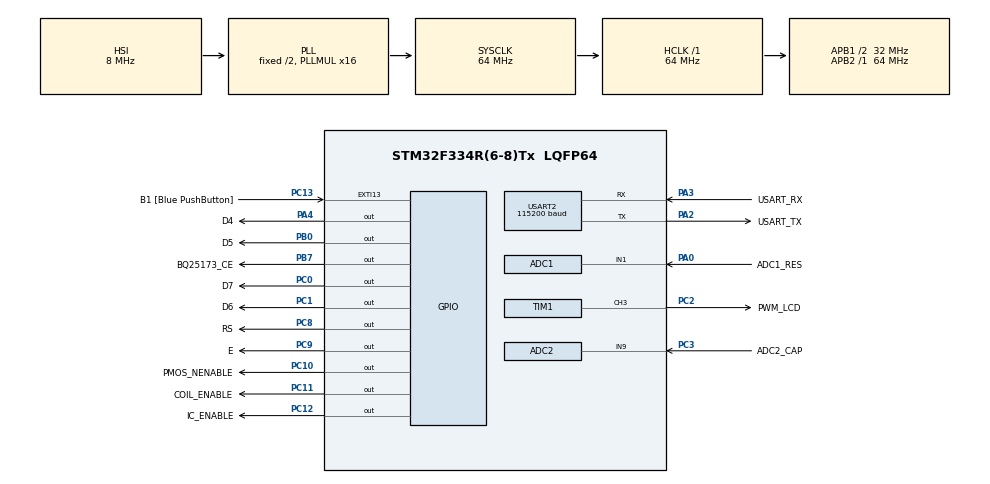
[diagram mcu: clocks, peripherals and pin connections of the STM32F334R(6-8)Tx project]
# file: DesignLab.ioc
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ADC1.Channel-2\#ChannelRegularConversion=ADC_CHANNEL_1
ADC1.ContinuousConvMode=DISABLE
ADC1.ExternalTrigConv=ADC_EXTERNALTRIGCONV_T6_TRGO
ADC1.NbrOfConversion=1
ADC1.NbrOfConversionFlag=1
ADC1.Offset-2\#ChannelRegularConversion=0
ADC1.OffsetNumber-2\#ChannelRegularConversion=ADC_OFFSET_NONE
ADC1.Rank-2\#ChannelRegularConversion=1
ADC1.SamplingTime-2\#ChannelRegularConversion=ADC_SAMPLETIME_1CYCLE_5
ADC1.SubFamily=STM32F334x8
ADC1.master=1
ADC2.Channel-2\#ChannelRegularConversion=ADC_CHANNEL_9
ADC2.ContinuousConvMode=DISABLE
ADC2.ExternalTrigConv=ADC_EXTERNALTRIGCONV_T2_TRGO
ADC2.NbrOfConversionFlag=1
ADC2.Offset-2\#ChannelRegularConversion=0
ADC2.OffsetNumber-2\#ChannelRegularConversion=ADC_OFFSET_NONE
ADC2.Rank-2\#ChannelRegularConversion=1
ADC2.SamplingTime-2\#ChannelRegularConversion=ADC_SAMPLETIME_181CYCLES_5
ADC2.SamplingTimeOPAMP-2\#ChannelRegularConversion=ADC_SAMPLETIME_61CYCLES_5
ADC2.SubFamily=STM32F334x8
Mcu.Family=STM32F3
Mcu.Name=STM32F334R(6-8)Tx
Mcu.Package=LQFP64
NVIC.ADC1_2_IRQn=true\:0\:0\:false\:false\:true\:true\:true\:true
NVIC.PriorityGroup=NVIC_PRIORITYGROUP_0
NVIC.TIM1_BRK_TIM15_IRQn=true\:0\:0\:false\:false\:true\:true\:true\:true
NVIC.TIM7_DAC2_IRQn=true\:0\:0\:false\:false\:true\:true\:true\:true
NVIC.USART2_IRQn=true\:0\:0\:false\:false\:true\:true\:true\:true
PA0.GPIO_Label=ADC1_RES
PA0.Mode=IN1-Single-Ended
PA0.Signal=ADC1_IN1
PA13.GPIO_Label=TMS
PA13.Mode=Serial_Wire
PA13.Signal=SYS_JTMS-SWDIO
PA14.GPIO_Label=TCK
PA14.Mode=Serial_Wire
PA14.Signal=SYS_JTCK-SWCLK
PA2.GPIO_Label=USART_TX
PA2.Mode=Asynchronous
PA2.Signal=USART2_TX
PA3.GPIO_Label=USART_RX
PA3.Mode=Asynchronous
PA3.Signal=USART2_RX
PA4.GPIO_Label=D4
PA4.Signal=GPIO_Output
PB0.GPIO_Label=D5
PB0.Signal=GPIO_Output
PB3.GPIO_Label=SWO
PB3.Signal=SYS_JTDO-TRACESWO
PB7.GPIO_Label=BQ25173_CE
PB7.PinState=GPIO_PIN_SET
PB7.Signal=GPIO_Output
PC0.GPIO_Label=D7
PC0.Signal=GPIO_Output
PC1.GPIO_Label=D6
PC1.Signal=GPIO_Output
PC10.GPIO_Label=PMOS_NENABLE
PC10.PinState=GPIO_PIN_SET
PC10.Signal=GPIO_Output
PC11.GPIO_Label=COIL_ENABLE
PC11.Signal=GPIO_Output
PC12.GPIO_Label=IC_ENABLE
PC12.Signal=GPIO_Output
PC13.GPIO_Label=B1 [Blue PushButton]
PC13.GPIO_ModeDefaultEXTI=GPIO_MODE_IT_FALLING
PC13.Signal=GPXTI13
PC14\ /\ OSC32_IN.Mode=LSE-External-Oscillator
PC14\ /\ OSC32_IN.Signal=RCC_OSC32_IN
PC15\ /\ OSC32_OUT.GPIO_Label=RCC_OSC32_OUT
PC15\ /\ OSC32_OUT.Mode=LSE-External-Oscillator
PC15\ /\ OSC32_OUT.Signal=RCC_OSC32_OUT
PC2.GPIO_Label=PWM_LCD
PC2.Signal=S_TIM1_CH3
PC3.GPIO_Label=ADC2_CAP
PC3.Signal=ADCx_IN9
PC8.GPIO_Label=RS
PC8.Signal=GPIO_Output
PC9.GPIO_Label=E
PC9.Signal=GPIO_Output
PF0\ /\ OSC_IN.Mode=HSE-External-Clock-Source
PF0\ /\ OSC_IN.Signal=RCC_OSC_IN
PF1\ /\ OSC_OUT.Signal=RCC_OSC_OUT
ProjectManager.HeapSize=0x200
ProjectManager.StackSize=0x400
ProjectManager.TargetToolchain=STM32CubeIDE
RCC.AHBFreq_Value=64000000
RCC.APB1CLKDivider=RCC_HCLK_DIV2
RCC.APB1Freq_Value=32000000
RCC.APB1TimFreq_Value=64000000
RCC.APB2Freq_Value=64000000
RCC.APB2TimFreq_Value=64000000
RCC.CortexFreq_Value=64000000
RCC.FLatency-AdvancedSettings=FLASH_LATENCY_2
RCC.HCLKFreq_Value=64000000
RCC.HSE_VALUE=8000000
RCC.HSI_VALUE=8000000
RCC.PLLMUL=RCC_PLL_MUL16
RCC.SYSCLKFreq_VALUE=64000000
RCC.SYSCLKSourceVirtual=RCC_SYSCLKSOURCE_PLLCLK
SH.ADCx_IN9.0=ADC2_IN9,IN9-Single-Ended
SH.S_TIM1_CH3.0=TIM1_CH3,PWM Generation3 CH3
TIM1.Channel-PWM\ Generation3\ CH3=TIM_CHANNEL_3
TIM1.Period=999
TIM1.Prescaler=7
TIM15.Period=999
TIM15.Prescaler=63999
TIM2.Period=99
TIM2.Prescaler=79
TIM2.TIM_MasterOutputTrigger=TIM_TRGO_UPDATE
TIM6.Period=20480
TIM6.Prescaler=0
TIM6.TIM_MasterOutputTrigger=TIM_TRGO_UPDATE
TIM7.Period=999
TIM7.Prescaler=63
USART2.BaudRate=115200
USART2.VirtualMode-Asynchronous=VM_ASYNC
VP_TIM15_VS_ClockSourceINT.Mode=Internal
VP_TIM2_VS_ClockSourceINT.Mode=Internal
VP_TIM6_VS_ClockSourceINT.Mode=Enable_Timer
VP_TIM7_VS_ClockSourceINT.Mode=Enable_Timer
board=NUCLEO-F334R8

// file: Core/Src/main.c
/* USER CODE BEGIN Header */
/**
  ******************************************************************************
  * @file           : main.c
  * @brief          : Main program body
  ******************************************************************************
  * @attention
  *
  * Copyright (c) 2025 STMicroelectronics.
  * All rights reserved.
  *
  * This software is licensed under terms that can be found in the LICENSE file
  * in the root directory of this software component.
  * If no LICENSE file comes with this software, it is provided AS-IS.
  *
  ******************************************************************************
  */
/* USER CODE END Header */
#include "main.h"
#include "adc.h"
#include "tim.h"
#include "usart.h"
#include "gpio.h"

/* USER CODE BEGIN Includes */
#include "stm32f3xx_hal.h"
#include "4b_HD44780_LCD.h"
#include <stdio.h>
#include <string.h>
#include <math.h>
#include <inttypes.h>

/* USER CODE END Includes */

/* USER CODE BEGIN PD */
	#define CMD_BUFFER_SIZE 			20
	#define CAPACITY					19.5f 				//declared 25F
	#define CHARGE_CURRENT				0.210f
	#define CHARGE_TIME_MARGIN 			1.15F 				//calibration constant
	#define V_MIN_MV 					2900.0f
	#define V_MAX_MV					3200.0f
	#define MIN_ENERGY					(0.5 * CAPACITY * V_MIN_MV/1000 * V_MIN_MV/1000)
	#define MAX_ENERGY					(0.5 * CAPACITY * V_MAX_MV/1000 * V_MAX_MV/1000)
	#define LCD_UPDATE_INTERVAL_MS		500
	#define UART_UPDATE_INTERVAL_MS		10
	#define UART_TIMEOUT_MS				100
	#define PWM_INITIAL_VALUE			100
	#define PWM_MAX_VALUE				1000
	#define CHARGE_FULL_MAGIC			999
/* USER CODE END PD */

/* USER CODE BEGIN PV */
	char 				txbufUARTcapacitor[25],
		 	 	 	 	txbufUARTresistor[25],
						txbufLCDvoltage[30],
						txbufLCDpercent[25];

	char 				RxBuffer[CMD_BUFFER_SIZE];

	uint32_t 			last_lcd_update = 0,
			 	 	 	last_uart_resistor_update = 0,
			 	 	 	last_uart_capacitor_update = 0,
						target_charging_time_units = 0;

	const uint16_t 		ADC_MAX = 4095,
						VREF_ADC = 3361;

	uint8_t 			RxData[1];

	volatile float		current_voltage_cap_mV = 0,
						current_voltage_res_mV = 0,
						current_energy = 0,
						start_state_energy = 0,
						current_percent = 0;

	volatile uint8_t 	RxIndex = 0;

	volatile uint32_t  	ms_elapsed_charging = 0,
						s_elapsed_running = 0,
						start_state = 100;

	volatile char  		adc1Resistor_convert_flag,
				   	   	adc2Capacitor_convert_flag;

	volatile uint8_t 	cmd_ready_flag = 0,
						charging_active_flag = 0,
						discharging_active_flag = 0,
						pwm_not_allowed_value_flag = 0;
/* USER CODE END PV */

void SystemClock_Config(void);
/* USER CODE BEGIN PFP */
void ProcessCommand(char *cmd);
float PredictDischargeTimeMs(uint32_t adc_raw);
void StopDischarging(void);
void StartDischarging(void);
void Charge(int);
/* USER CODE END PFP */

int main(void)
{

  /* MCU Configuration--------------------------------------------------------*/

  /* Reset of all peripherals, Initializes the Flash interface and the Systick. */
  HAL_Init();

  /* Configure the system clock */
  SystemClock_Config();

  /* Initialize all configured peripherals */
  MX_GPIO_Init();
  MX_USART2_UART_Init();
  MX_TIM1_Init();
  MX_ADC1_Init();
  MX_TIM2_Init();
  MX_ADC2_Init();
  MX_TIM6_Init();
  MX_TIM7_Init();
  MX_TIM15_Init();
  /* USER CODE BEGIN 2 */
  HAL_UART_Receive_IT(&huart2, RxData, 1);
  HAL_TIM_Base_Start(&htim2); //adc2 external trigger
  HAL_TIM_Base_Start(&htim6); //adc1 external trigger
  HAL_ADC_Start_IT(&hadc2);

  // loading the initial pwm value to 50%
  HAL_TIM_PWM_Start(&htim1, TIM_CHANNEL_3);
  __HAL_TIM_SET_COMPARE(&htim1, TIM_CHANNEL_3, PWM_INITIAL_VALUE);

  LCD_HD44780_Init();

  /* USER CODE END 2 */

  /* Infinite loop */
  /* USER CODE BEGIN WHILE */
  while (1)
  {

	  if (charging_active_flag == 1)
	      {
	          // if the value of target voltage is exceeded, stop charging the capacitor
	          if (ms_elapsed_charging >= target_charging_time_units)
	          {
	              HAL_GPIO_WritePin(GPIOB, BQ25173_CE_Pin, GPIO_PIN_SET);
	              HAL_TIM_Base_Stop_IT(&htim7);
	              charging_active_flag = 0;
	              snprintf(txbufUARTresistor, sizeof(txbufUARTresistor), "log$koniec\r\n");
	              HAL_UART_Transmit(&huart2, (uint8_t*)txbufUARTresistor, strlen(txbufUARTresistor), UART_TIMEOUT_MS);
	          }
	          // we do not check based on voltage, because the charger has a hardware limitation of 3.35 V
	      }

	  if (cmd_ready_flag) {
		  ProcessCommand(RxBuffer);
		  cmd_ready_flag = 0;
		  RxIndex = 0;
	  }

	  if ( uwTick - last_lcd_update >= LCD_UPDATE_INTERVAL_MS && adc2Capacitor_convert_flag) {
			  last_lcd_update = uwTick;
			  adc2Capacitor_convert_flag = 0;

			  uint16_t v_int = (uint16_t)(current_voltage_cap_mV / 1000);
			  uint16_t v_dec = (uint16_t)((int)current_voltage_cap_mV / 10 % 100);
			  uint16_t min = 0, sec = 0;

			  LCD_SetCursor(0, 0);

			 if (discharging_active_flag) {
				 if (current_voltage_cap_mV <= V_MIN_MV) StopDischarging();
				 float predicted_sec = PredictDischargeTimeMs(current_percent);
				 min = (uint16_t)(predicted_sec / 60);
				 sec = (uint16_t)predicted_sec % 60;
				 snprintf(txbufLCDvoltage, sizeof(txbufLCDvoltage), "U = %1u,%02u V %2u:%02u", v_int, v_dec, min, sec);
				 LCD_Print(txbufLCDvoltage);
			 } else {
				 snprintf(txbufLCDvoltage, sizeof(txbufLCDvoltage), "U = %1u,%02u V      ", v_int, v_dec);
				 LCD_Print(txbufLCDvoltage);
			 }

			  LCD_SetCursor(1, 0);

			  snprintf(txbufLCDpercent, sizeof(txbufLCDpercent), "Battery  =  %3u%%", (uint16_t)current_percent);
			  LCD_Print(txbufLCDpercent);
	  }

	  if ( uwTick - last_uart_resistor_update >= UART_UPDATE_INTERVAL_MS && adc1Resistor_convert_flag) {
	  	  last_uart_resistor_update = uwTick;
		  adc1Resistor_convert_flag = 0;

		  uint16_t v_int = (uint16_t)(current_voltage_res_mV / 1000);
		  uint16_t v_dec = (uint16_t)((int)current_voltage_res_mV % 1000);
		  snprintf(txbufUARTresistor, sizeof(txbufUARTresistor), "ADC1$%1u.%03u\r\n", v_int, v_dec);
		  HAL_UART_Transmit(&huart2, (uint8_t*)txbufUARTresistor, strlen(txbufUARTresistor), UART_TIMEOUT_MS);
	  }

	  if ( uwTick - last_uart_capacitor_update >= UART_UPDATE_INTERVAL_MS && adc2Capacitor_convert_flag) {
	  	  last_uart_capacitor_update = uwTick;
		  adc2Capacitor_convert_flag = 0;

		  uint16_t v_int = (uint16_t)(current_voltage_cap_mV / 1000);
		  uint16_t v_dec = (uint16_t)((int)current_voltage_cap_mV % 1000);
		  snprintf(txbufUARTcapacitor, sizeof(txbufUARTcapacitor), "ADC2$%1u.%03u\r\n", v_int, v_dec);
		  HAL_UART_Transmit(&huart2, (uint8_t*)txbufUARTcapacitor, strlen(txbufUARTcapacitor), UART_TIMEOUT_MS);
	  }
    /* USER CODE END WHILE */

  }
}

void SystemClock_Config(void)
{
  RCC_OscInitTypeDef RCC_OscInitStruct = {0};
  RCC_ClkInitTypeDef RCC_ClkInitStruct = {0};
  RCC_PeriphCLKInitTypeDef PeriphClkInit = {0};

  /** Initializes the RCC Oscillators according to the specified parameters
  * in the RCC_OscInitTypeDef structure.
  */
  RCC_OscInitStruct.OscillatorType = RCC_OSCILLATORTYPE_HSI;
  RCC_OscInitStruct.HSIState = RCC_HSI_ON;
  RCC_OscInitStruct.HSICalibrationValue = RCC_HSICALIBRATION_DEFAULT;
  RCC_OscInitStruct.PLL.PLLState = RCC_PLL_ON;
  RCC_OscInitStruct.PLL.PLLSource = RCC_PLLSOURCE_HSI;
  RCC_OscInitStruct.PLL.PLLMUL = RCC_PLL_MUL16;
  if (HAL_RCC_OscConfig(&RCC_OscInitStruct) != HAL_OK)
  {
    Error_Handler();
  }

  /** Initializes the CPU, AHB and APB buses clocks
  */
  RCC_ClkInitStruct.ClockType = RCC_CLOCKTYPE_HCLK|RCC_CLOCKTYPE_SYSCLK
                              |RCC_CLOCKTYPE_PCLK1|RCC_CLOCKTYPE_PCLK2;
  RCC_ClkInitStruct.SYSCLKSource = RCC_SYSCLKSOURCE_PLLCLK;
  RCC_ClkInitStruct.AHBCLKDivider = RCC_SYSCLK_DIV1;
  RCC_ClkInitStruct.APB1CLKDivider = RCC_HCLK_DIV2;
  RCC_ClkInitStruct.APB2CLKDivider = RCC_HCLK_DIV1;

  if (HAL_RCC_ClockConfig(&RCC_ClkInitStruct, FLASH_LATENCY_2) != HAL_OK)
  {
    Error_Handler();
  }
  PeriphClkInit.PeriphClockSelection = RCC_PERIPHCLK_TIM1|RCC_PERIPHCLK_ADC12;
  PeriphClkInit.Adc12ClockSelection = RCC_ADC12PLLCLK_DIV1;
  PeriphClkInit.Tim1ClockSelection = RCC_TIM1CLK_HCLK;
  if (HAL_RCCEx_PeriphCLKConfig(&PeriphClkInit) != HAL_OK)
  {
    Error_Handler();
  }
}

/* USER CODE BEGIN 4 */
	void HAL_ADC_ConvCpltCallback(ADC_HandleTypeDef* h) {
		if (h == &hadc1) {
			uint32_t adc1Resistor_result = HAL_ADC_GetValue(&hadc1);
			current_voltage_res_mV = ((float)adc1Resistor_result / ADC_MAX) * VREF_ADC;
			adc1Resistor_convert_flag = 1;
			HAL_ADC_Start_IT(&hadc1);
		}
		else if (h == &hadc2) {
			uint32_t adc2Capacitor_result = HAL_ADC_GetValue(&hadc2);
			current_voltage_cap_mV = ((float)adc2Capacitor_result / ADC_MAX) * VREF_ADC;
			current_energy = 0.5f * CAPACITY * (current_voltage_cap_mV / 1000) * (current_voltage_cap_mV / 1000);

			// Calculate percentage with protection against invalid values
			float energy_range = MAX_ENERGY - MIN_ENERGY;
			if (energy_range > 0.01f) {
				current_percent = (current_energy - MIN_ENERGY) * (100.0f / energy_range);
			} else {
				current_percent = 0;
			}

			if (current_percent < 0 || isnan(current_percent)) {
				current_percent = 0;
			} else if (current_percent > 100 || isinf(current_percent)) {
				current_percent = 100;
			}

			adc2Capacitor_convert_flag = 1;
			HAL_ADC_Start_IT(&hadc2);
		}
	}

	void HAL_UART_RxCpltCallback(UART_HandleTypeDef *huart)
	    {
	        if (huart->Instance == USART2)
	        {
	            uint8_t received_char = RxData[0];

	            // detecting the end of the command
	            if (received_char == '\r' || received_char == '\n')
	            {
	                // end command buffering, terminating character
	                if (RxIndex < CMD_BUFFER_SIZE) {
	                    RxBuffer[RxIndex] = '\0';
	                    cmd_ready_flag = 1;
	                } else {
	                    // Buffer overflow - reset
	                    RxIndex = 0;
	                }
	            }

	            // standard character buffering
	            else if (RxIndex < CMD_BUFFER_SIZE - 1)
	            {
	                RxBuffer[RxIndex] = received_char;
	                RxIndex++;
	            }
	            else {
	                // Buffer full - ignore character or reset
	                RxIndex = 0;
	            }

	            // auscultation should be resumed at the next sign
	            HAL_UART_Receive_IT(huart, RxData, 1);
	        }
	    }

	void HAL_TIM_PeriodElapsedCallback(TIM_HandleTypeDef *htim) {
	    if (htim->Instance == TIM7) {
	    	ms_elapsed_charging++;
	    }
	    else if (htim->Instance == TIM15) {
	    	s_elapsed_running++;
	    }
	}

	void ProcessCommand(char *cmd)
		{
		    // variables to be parsed
		    char 	command_str[10];
		    int 	value,
					items_read;

		    // searching for the *command number* format
		    items_read = sscanf(cmd, "%s %d", command_str, &value);

		    // I. pwm command support - changing lcd contrast
		    if (items_read >= 2 && strcmp(command_str, "pwm") == 0)
		    {
		        // checking the allowed pwm range
		        // in our case Counter Period ARR is 999
	        if (value >= 0 && value < PWM_MAX_VALUE)
	        	// setting a new fill factor for channel 3 TIM1
	            __HAL_TIM_SET_COMPARE(&htim1, TIM_CHANNEL_3, value);
	        else
	            pwm_not_allowed_value_flag = 1;
		    }

		    else if(items_read >= 2 && strcmp(command_str, "charge") == 0)
		    {
		    	Charge(value);
		    }

		    // II. start command support - start of measurements
		    else if (strcmp(command_str, "start") == 0)
		    {
		    	StartDischarging();
		    }

		    // III. stop command support - interruption of measurements
		    else if (strcmp(command_str, "stop") == 0)
		    {
		    	StopDischarging();
		    }
		    // IV. full command support - capacitor charging
		    else if (strcmp(command_str, "full") == 0)
		    {
	    	Charge(CHARGE_FULL_MAGIC);
		    }
		}
	float PredictDischargeTimeMs(uint32_t adc_raw)
	{
	    float curr_dv = start_state - adc_raw;
	    // Protection against division by zero
	    if (curr_dv <= 0.01f) {
	        return 0.0f;
	    }
	    float t_sec = adc_raw/curr_dv*s_elapsed_running;
	    if (t_sec < 0) t_sec = 0;
	    return t_sec;
	}

	void StartDischarging(void) {
		if (charging_active_flag == 0) {
			if (!discharging_active_flag) {
				start_state = current_percent;
				start_state_energy = current_energy;
				discharging_active_flag = 1;
				HAL_ADC_Start_IT(&hadc1);
				// three different uc's charging variants
				HAL_GPIO_WritePin(GPIOC, IC_ENABLE_Pin, GPIO_PIN_SET);
				HAL_GPIO_WritePin(GPIOC, COIL_ENABLE_Pin, GPIO_PIN_SET);
				HAL_GPIO_WritePin(GPIOC, PMOS_NENABLE_Pin, GPIO_PIN_RESET);
				__HAL_TIM_SET_COUNTER(&htim15, 0);
				HAL_TIM_Base_Start_IT(&htim15);
				s_elapsed_running = 0;
			}
		}
	}

	void StopDischarging(void) {
		// adc1 shutdown
		adc1Resistor_convert_flag = 0;
		// stop discharching
		discharging_active_flag = 0;
		HAL_ADC_Stop_IT(&hadc1);
		HAL_GPIO_WritePin(GPIOC, IC_ENABLE_Pin, GPIO_PIN_RESET);
		HAL_GPIO_WritePin(GPIOC, COIL_ENABLE_Pin, GPIO_PIN_RESET);
		HAL_GPIO_WritePin(GPIOC, PMOS_NENABLE_Pin, GPIO_PIN_SET);
		HAL_TIM_Base_Stop_IT(&htim15);
		HAL_Delay(5000);
		float d_energy = start_state_energy - current_energy;
        snprintf(txbufUARTresistor, sizeof(txbufUARTresistor), "log$---STATS---\r\n");
        HAL_UART_Transmit(&huart2, (uint8_t*)txbufUARTresistor, strlen(txbufUARTresistor), UART_TIMEOUT_MS);
        snprintf(txbufUARTresistor, sizeof(txbufUARTresistor), "log$dE = %.2f J\r\n", d_energy);
        HAL_UART_Transmit(&huart2, (uint8_t*)txbufUARTresistor, strlen(txbufUARTresistor), UART_TIMEOUT_MS);
        snprintf(txbufUARTresistor, sizeof(txbufUARTresistor), "log$dt = %u s\r\n", (unsigned int)s_elapsed_running);
        HAL_UART_Transmit(&huart2, (uint8_t*)txbufUARTresistor, strlen(txbufUARTresistor), UART_TIMEOUT_MS);
        snprintf(txbufUARTresistor, sizeof(txbufUARTresistor), "log$---STATS---\r\n");
        HAL_UART_Transmit(&huart2, (uint8_t*)txbufUARTresistor, strlen(txbufUARTresistor), UART_TIMEOUT_MS);

	}

	void Charge(int value) {
		// Prevent charging if value is negative (except for CHARGE_FULL_MAGIC)
		if (value < 0 && value != CHARGE_FULL_MAGIC) return;

		// Prevent charging during discharge
		if (discharging_active_flag == 1) return;

		if ((MAX_ENERGY < current_energy + value) && (value != CHARGE_FULL_MAGIC)) return;

        if (charging_active_flag == 0)
        {

            float start_v = current_voltage_cap_mV / 1000.0f;
            float target_v = sqrt((2 * (current_energy + value)) / CAPACITY);
            if (value == CHARGE_FULL_MAGIC) target_v = V_MAX_MV/1000;
            // if the capacitor is initially charged above the expected value,
            // do not turn on the charging
            if (start_v >= target_v) return;

            float charging_time_sec = (CAPACITY * (target_v - start_v)) / CHARGE_CURRENT;
            // empathetic value
            charging_time_sec *= CHARGE_TIME_MARGIN;

            target_charging_time_units = (uint32_t)charging_time_sec * 1000;

            __HAL_TIM_SET_COUNTER(&htim7, 0);
            ms_elapsed_charging = 0;
            HAL_TIM_Base_Start_IT(&htim7);
            HAL_GPIO_WritePin(GPIOB, BQ25173_CE_Pin, GPIO_PIN_RESET);
            charging_active_flag = 1;
        }

	}

	/* USER CODE BEGIN 4 */

/* USER CODE END 4 */

void Error_Handler(void)
{
  __disable_irq();
  while (1)
  {
  }
}
